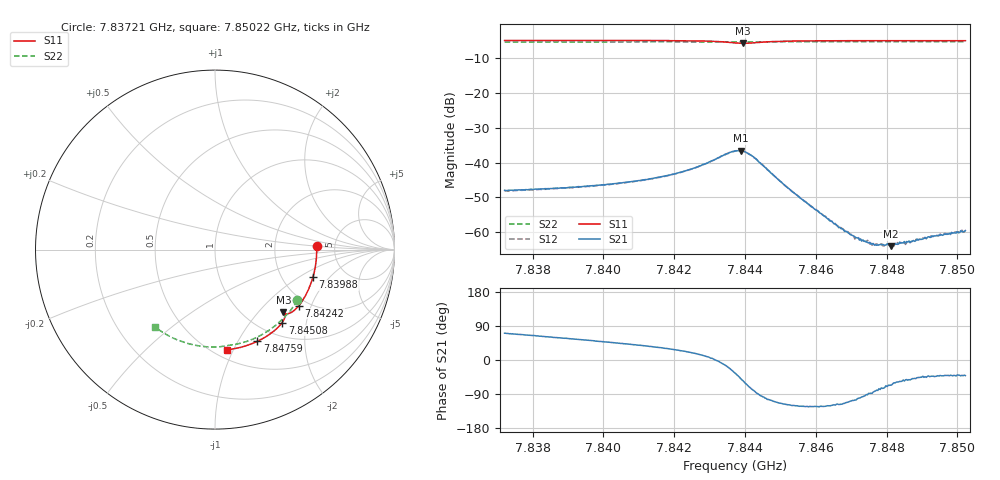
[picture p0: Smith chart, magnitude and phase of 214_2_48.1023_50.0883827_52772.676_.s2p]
#  HZ  S  RI  R  50.00
! Rohde & Schwarz Vector Network Analyzer
! Rohde-Schwarz,ZNB20-2Port,1311601062101988,3.16
! Created: UTC 12/23/2023, 3:56:05 AM
! freq[Hz]  re:S11  im:S11  re:S21  im:S21  re:S12  im:S12  re:S22  im:S22
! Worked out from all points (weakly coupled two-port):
!   401 points, 7.83721 GHz to 7.85022 GHz, reference 50 ohm
!   highest |S21| = -36.52 dB at 7.84388 GHz (marker M1); lowest = -64.0 dB at 7.84811 GHz (marker M2)
!   lowest |S11| = -5.8 dB at 7.84395 GHz (marker M3), VSWR 3.13, Z = 72.8 - j69 ohm
!   |S11| at or under -10 dB: nowhere
!   |S22| runs from -5.4 to -5.3 dB; largest |S21 - S12| = 0.00032
!   S11 on the Smith chart (normalised r, x): 7.83721 GHz: 3.59, +0.23; 7.83988 GHz: 2.95, -1.34; 7.84242 GHz: 1.80, -1.64; 7.84508 GHz: 1.25, -1.46; 7.84759 GHz: 0.81, -1.21; 7.85022 GHz: 0.58, -0.94
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7.837212e9  0.5658 0.022  0.00132 0.00377  0.00131 0.00368  0.4595 -0.2826
7.839391e9  0.5536 -0.1226  0.00269 0.00362  0.0027 0.00362  0.3631 -0.4004
7.839879e9  0.5455 -0.1543  0.00312 0.00358  0.00304 0.00357  0.3369 -0.4227
7.841571e9  0.5015 -0.2612  0.00519 0.00338  0.00512 0.00333  0.2371 -0.4867
7.842417e9  0.4675 -0.3121  0.00739 0.0028  0.00733 0.0028  0.1822 -0.5096
7.84323e9  0.4189 -0.3529  0.0117 -0.000517  0.0116 -0.000544  0.1273 -0.5254
7.843718e9  0.3847 -0.3542  0.0121 -0.00828  0.0122 -0.00822  0.0946 -0.5308
7.84388e9  0.3806 -0.3493  0.00968 -0.0114  0.00966 -0.0111  0.0843 -0.5322
7.843945e9  0.3809 -0.3476  0.00841 -0.0119  0.00845 -0.0119  0.0803 -0.533
7.844271e9  0.389 -0.3531  0.00157 -0.0116  0.00154 -0.0115  0.0592 -0.537
7.845084e9  0.3742 -0.4069  -0.00216 -0.00442  -0.00215 -0.00446  0.00255 -0.5428
7.845897e9  0.3339 -0.4495  -0.00125 -0.00193  -0.00128 -0.00192  -0.0547 -0.5408
7.846873e9  0.2787 -0.4884  -0.000382 -0.000951  -0.000401 -0.000963  -0.1226 -0.5302
7.847036e9  0.2689 -0.4938  -0.000258 -0.000866  -0.000285 -0.000865  -0.1337 -0.5277
7.847589e9  0.2357 -0.511  2.41e-05 -0.000683  4.1e-05 -0.00065  -0.171 -0.517
7.847719e9  0.2279 -0.5148  0.000119 -0.00064  0.00011 -0.000672  -0.1798 -0.5143
7.847946e9  0.2137 -0.5209  0.000198 -0.000618  0.000205 -0.000608  -0.1947 -0.5089
7.848077e9  0.2056 -0.524  0.000252 -0.000589  0.000264 -0.000597  -0.2032 -0.5057
7.848109e9  0.2035 -0.5247  0.000254 -0.000578  0.000288 -0.000612  -0.2055 -0.5047
7.848597e9  0.1729 -0.5358  0.000433 -0.000582  0.000454 -0.000595  -0.2367 -0.4911
7.849573e9  0.1098 -0.5521  0.000675 -0.000601  0.000706 -0.000591  -0.2966 -0.4579
7.850223e9  0.0668 -0.5585  0.000798 -0.000698  0.000829 -0.000689  -0.3342 -0.4321
